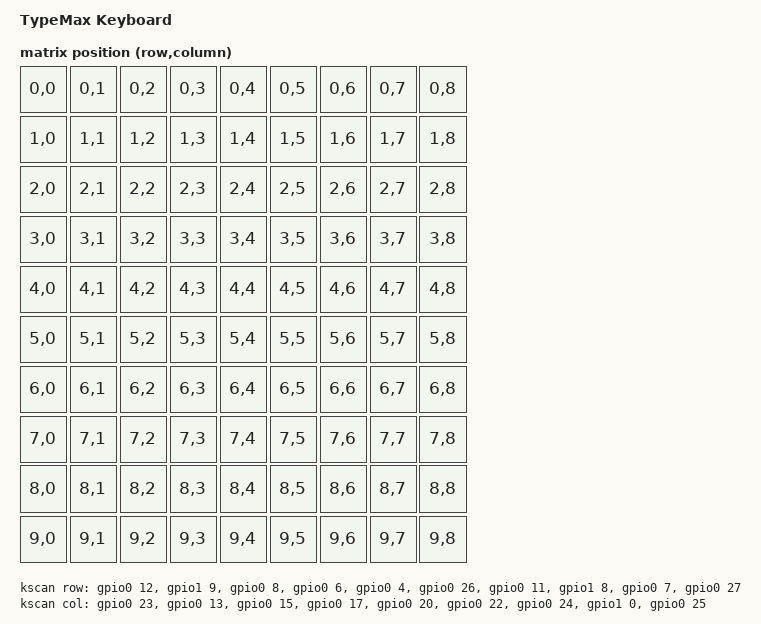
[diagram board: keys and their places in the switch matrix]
/*
 * Copyright (c) 2020 The ZMK Contributors
 *
 * SPDX-License-Identifier: MIT
 */


/dts-v1/;
#include <nordic/nrf52840_qiaa.dtsi>
#include <dt-bindings/gpio/gpio.h> 
#include <dt-bindings/zmk/matrix_transform.h>
#include <zephyr/dt-bindings/led/led.h>


/* 测试 zmk behavior 用*/ 
//#include "control_gpio_behavior.dtsi"

/ {
    model = "TypeMax Keyboard";
	compatible = "typemax", "nordic,nrf52840-qiaa", "nordic,nrf52840";

	chosen {
		//zephyr,console = &uart0;
		//zephyr,shell-uart = &uart0;
		//zephyr,uart-mcumgr = &uart0;
		//zephyr,bt-mon-uart = &uart0;
		//zephyr,bt-c2h-uart = &uart0;
		zephyr,sram = &sram0;
		zephyr,flash = &flash0;
        zephyr,code-partition = &slot0_partition;
        zmk,kscan = &kscan;
        zmk,matrix-transform = &transform;
        zmk,battery = &vbatt;
        zephyr,settings-partition = &storage_partition;
        //ws2812
        zmk,underglow = &led_strip;
	};

    transform: transform {
        compatible = "zmk,matrix-transform";
        rows = <10>;
        columns = <9>;

        map = <
        RC(0,0) RC(0,1) RC(0,2) RC(0,3) RC(0,4) RC(0,5) RC(0,6) RC(0,7) RC(0,8)
        RC(1,0) RC(1,1) RC(1,2) RC(1,3) RC(1,4) RC(1,5) RC(1,6) RC(1,7) RC(1,8)
        RC(2,0) RC(2,1) RC(2,2) RC(2,3) RC(2,4) RC(2,5) RC(2,6) RC(2,7) RC(2,8)
        RC(3,0) RC(3,1) RC(3,2) RC(3,3) RC(3,4) RC(3,5) RC(3,6) RC(3,7) RC(3,8)
        RC(4,0) RC(4,1) RC(4,2) RC(4,3) RC(4,4) RC(4,5) RC(4,6) RC(4,7) RC(4,8)
        RC(5,0) RC(5,1) RC(5,2) RC(5,3) RC(5,4) RC(5,5) RC(5,6) RC(5,7) RC(5,8)
        RC(6,0) RC(6,1) RC(6,2) RC(6,3) RC(6,4) RC(6,5) RC(6,6) RC(6,7) RC(6,8)
        RC(7,0) RC(7,1) RC(7,2) RC(7,3) RC(7,4) RC(7,5) RC(7,6) RC(7,7) RC(7,8)
        RC(8,0) RC(8,1) RC(8,2) RC(8,3) RC(8,4) RC(8,5) RC(8,6) RC(8,7) RC(8,8)
        RC(9,0) RC(9,1) RC(9,2) RC(9,3) RC(9,4) RC(9,5) RC(9,6) RC(9,7) RC(9,8)
        >;

    };

    kscan: kscan {
        compatible = "zmk,kscan-gpio-matrix";
        diode-direction = "row2col";
        wakeup-source;

        // todo
        row-gpios
            = <&gpio0 12 GPIO_ACTIVE_HIGH>
            , <&gpio1 9 GPIO_ACTIVE_HIGH> 
            , <&gpio0 8 GPIO_ACTIVE_HIGH>
            , <&gpio0 6 GPIO_ACTIVE_HIGH>
            , <&gpio0 4 GPIO_ACTIVE_HIGH>
            , <&gpio0 26 GPIO_ACTIVE_HIGH>
            , <&gpio0 11 GPIO_ACTIVE_HIGH>
            , <&gpio1 8 GPIO_ACTIVE_HIGH>
            , <&gpio0 7 GPIO_ACTIVE_HIGH>
            , <&gpio0 27 GPIO_ACTIVE_HIGH>
        ;
        col-gpios
            = <&gpio0 23 (GPIO_ACTIVE_HIGH | GPIO_PULL_DOWN)>
            , <&gpio0 13 (GPIO_ACTIVE_HIGH | GPIO_PULL_DOWN)>
            , <&gpio0 15 (GPIO_ACTIVE_HIGH | GPIO_PULL_DOWN)>
            , <&gpio0 17 (GPIO_ACTIVE_HIGH | GPIO_PULL_DOWN)>
            , <&gpio0 20 (GPIO_ACTIVE_HIGH | GPIO_PULL_DOWN)>
            , <&gpio0 22 (GPIO_ACTIVE_HIGH | GPIO_PULL_DOWN)>
            , <&gpio0 24 (GPIO_ACTIVE_HIGH | GPIO_PULL_DOWN)>
            , <&gpio1 0 (GPIO_ACTIVE_HIGH | GPIO_PULL_DOWN)>
            , <&gpio0 25 (GPIO_ACTIVE_HIGH | GPIO_PULL_DOWN)> 
        ;
    };


    vbatt: vbatt {
        compatible = "zmk,battery-voltage-divider";
        // 我使用的 P0.03 对应 AIN1 通道，所以这里是 &adc 1
        io-channels = <&adc 1>;
        output-ohms = <100000>;
        full-ohms = <200000>;
        status = "okay";
    };

    // 这里是CAPS_LOCK 和 切换层使用的 led 行为
    led: led {
        compatible = "zmk,behavior-led";
        #binding-cells = <2>; 
        // 索引 0 对应 GRE (P0.14), 索引 1 对应 RED (P0.16)
        gpios = <&gpio0 14 GPIO_ACTIVE_LOW>, <&gpio0 16 GPIO_ACTIVE_LOW>;
        status = "okay";
    };

    // 这里是切换不同蓝牙设备使用的 led 行为
    blink: blink {
        compatible = "zmk,behavior-blink";
        #binding-cells = <2>; 
        // 引用相同的硬件资源
        gpios = <&gpio0 14 GPIO_ACTIVE_LOW>, <&gpio0 16 GPIO_ACTIVE_LOW>;
        status = "okay";
    };

    reclayer: record_layer {
        compatible = "zmk,behavior-reclayer";
        #binding-cells = <1>;
    };

    togtouch: togtouch {
        compatible = "zmk,behavior-togtouch";
        #binding-cells = <0>;
        status = "okay";
    };


};

&uicr {
    nfct-pins-as-gpios;
    gpio-as-nreset;
};

&adc {
	status ="okay";
};

&gpiote {
	status = "okay";
};

&gpio0 {
	status = "okay";
};

&gpio1 {
    status = "okay";
};

&usbd {
    status = "okay";
};

&pinctrl {

    i2c0_default: i2c0_default {
        group1 {
            psels = <NRF_PSEL(TWIM_SDA, 1, 2)>,
                <NRF_PSEL(TWIM_SCL, 1, 4)>;
        };
    };

    i2c0_sleep: i2c0_sleep {
        group1 {
            psels = <NRF_PSEL(TWIM_SDA, 1, 2)>,
                <NRF_PSEL(TWIM_SCL, 1, 4)>;
            //low-power-enable;
            bias-disable;
        };
    };

    // ws2812 
    spi3_default: spi3_default {
        group1 {
            psels = <NRF_PSEL(SPIM_MOSI, 0, 21)>;
            nordic,drive-mode = <NRF_DRIVE_S0H1>; 
            bias-disable;
        };
    };

    // ws2812
    spi3_sleep: spi3_sleep {
        group1 {
            psels = <NRF_PSEL(SPIM_MOSI, 0, 21)>;
            nordic,drive-mode = <NRF_DRIVE_S0H1>; 
            bias-disable;
        };
    };

};

&i2c0 {
	compatible = "nordic,nrf-twi";
	status = "okay";
	pinctrl-0 = <&i2c0_default>;
    pinctrl-1 = <&i2c0_sleep>;
    pinctrl-names = "default", "sleep";
    clock-frequency = <I2C_BITRATE_FAST>;

    xw12a: xw12a@42 {
		compatible = "xinwang,xw12a";
		reg = <0x42>;
		int-gpios = <&gpio1 6 GPIO_ACTIVE_LOW>;
    };


};

// ws2812 专用 pin 口
&spi3 { 
    compatible = "nordic,nrf-spim";
    status = "okay";
    pinctrl-0 = <&spi3_default>;
    pinctrl-1 = <&spi3_sleep>;
    pinctrl-names = "default", "sleep";

    /delete-property/ sck-pin;      /* WS2812 不需要时钟线 */
    /delete-property/ miso-pin;     /* WS2812 不需要输入线 */
    
    led_strip: ws2812@0 {
        compatible = "worldsemi,ws2812-spi";
        reg = <0>;
        spi-max-frequency = <4000000>;
        spi-one-frame = <0x70>; 
        spi-zero-frame = <0x40>; 
        
        /* 修改这里：支持 4 颗灯串联 */
        chain-length = <4>; 
        
        color-mapping = <LED_COLOR_ID_GREEN LED_COLOR_ID_RED LED_COLOR_ID_BLUE>;
    };
};

&flash0 {
    partitions {
        compatible = "fixed-partitions";
        #address-cells = <1>;
        #size-cells = <1>;

        boot_partition: partition@0 {
            label = "mcuboot";
            reg = <0x00000000 0x0000c000>;
        };

        slot0_partition: partition@c000 {
            label = "image-0";
            reg = <0x0000c000 0x000e0000>;
        };

        storage_partition: partition@ec000 {
            label = "storage";
            reg = <0x000ec000 0x00014000>;
        };
    };
};

